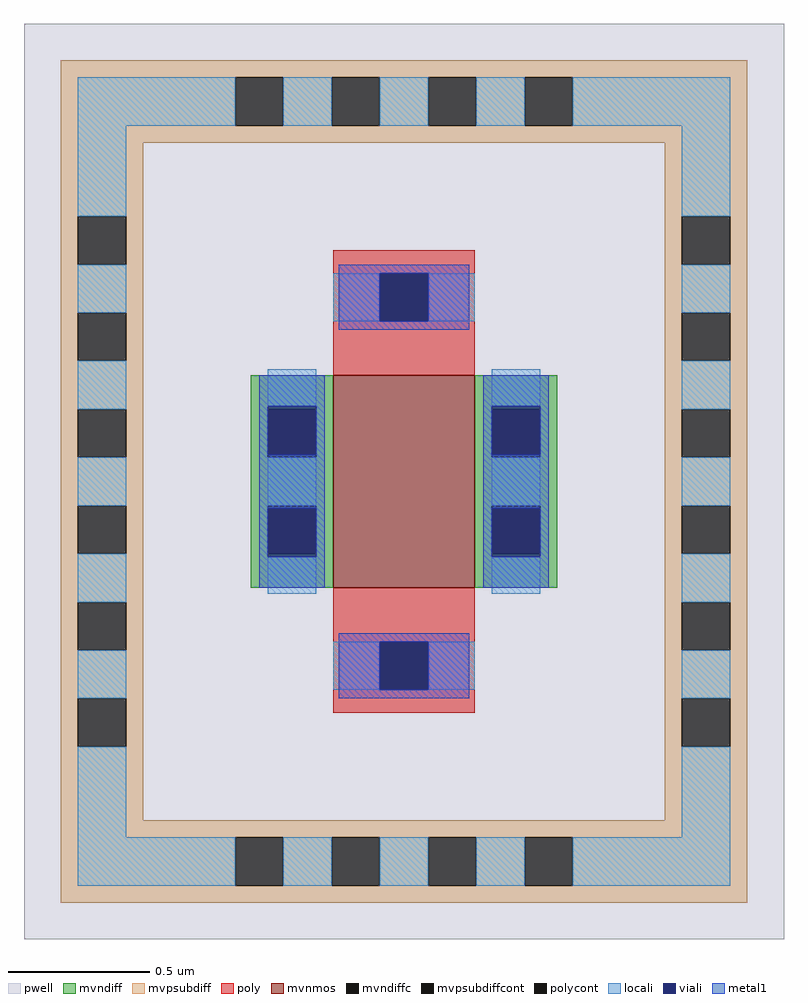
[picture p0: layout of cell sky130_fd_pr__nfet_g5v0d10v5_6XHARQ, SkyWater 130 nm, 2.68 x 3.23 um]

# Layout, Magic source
magic
tech sky130B
magscale 1 2
<< pwell >>
rect -268 -323 268 323
<< mvnmos >>
rect -50 -75 50 75
<< mvndiff >>
rect -108 51 -50 75
rect -108 17 -96 51
rect -62 17 -50 51
rect -108 -17 -50 17
rect -108 -51 -96 -17
rect -62 -51 -50 -17
rect -108 -75 -50 -51
rect 50 51 108 75
rect 50 17 62 51
rect 96 17 108 51
rect 50 -17 108 17
rect 50 -51 62 -17
rect 96 -51 108 -17
rect 50 -75 108 -51
<< mvndiffc >>
rect -96 17 -62 51
rect -96 -51 -62 -17
rect 62 17 96 51
rect 62 -51 96 -17
<< mvpsubdiff >>
rect -242 285 242 297
rect -242 251 -119 285
rect -85 251 -51 285
rect -17 251 17 285
rect 51 251 85 285
rect 119 251 242 285
rect -242 239 242 251
rect -242 187 -184 239
rect -242 153 -230 187
rect -196 153 -184 187
rect 184 187 242 239
rect -242 119 -184 153
rect -242 85 -230 119
rect -196 85 -184 119
rect -242 51 -184 85
rect 184 153 196 187
rect 230 153 242 187
rect 184 119 242 153
rect 184 85 196 119
rect 230 85 242 119
rect -242 17 -230 51
rect -196 17 -184 51
rect -242 -17 -184 17
rect -242 -51 -230 -17
rect -196 -51 -184 -17
rect -242 -85 -184 -51
rect 184 51 242 85
rect 184 17 196 51
rect 230 17 242 51
rect 184 -17 242 17
rect 184 -51 196 -17
rect 230 -51 242 -17
rect -242 -119 -230 -85
rect -196 -119 -184 -85
rect -242 -153 -184 -119
rect -242 -187 -230 -153
rect -196 -187 -184 -153
rect 184 -85 242 -51
rect 184 -119 196 -85
rect 230 -119 242 -85
rect 184 -153 242 -119
rect -242 -239 -184 -187
rect 184 -187 196 -153
rect 230 -187 242 -153
rect 184 -239 242 -187
rect -242 -251 242 -239
rect -242 -285 -119 -251
rect -85 -285 -51 -251
rect -17 -285 17 -251
rect 51 -285 85 -251
rect 119 -285 242 -251
rect -242 -297 242 -285
<< mvpsubdiffcont >>
rect -119 251 -85 285
rect -51 251 -17 285
rect 17 251 51 285
rect 85 251 119 285
rect -230 153 -196 187
rect -230 85 -196 119
rect 196 153 230 187
rect 196 85 230 119
rect -230 17 -196 51
rect -230 -51 -196 -17
rect 196 17 230 51
rect 196 -51 230 -17
rect -230 -119 -196 -85
rect -230 -187 -196 -153
rect 196 -119 230 -85
rect 196 -187 230 -153
rect -119 -285 -85 -251
rect -51 -285 -17 -251
rect 17 -285 51 -251
rect 85 -285 119 -251
<< poly >>
rect -50 147 50 163
rect -50 113 -17 147
rect 17 113 50 147
rect -50 75 50 113
rect -50 -113 50 -75
rect -50 -147 -17 -113
rect 17 -147 50 -113
rect -50 -163 50 -147
<< polycont >>
rect -17 113 17 147
rect -17 -147 17 -113
<< locali >>
rect -230 251 -119 285
rect -85 251 -51 285
rect -17 251 17 285
rect 51 251 85 285
rect 119 251 230 285
rect -230 187 -196 251
rect -230 119 -196 153
rect 196 187 230 251
rect -50 113 -17 147
rect 17 113 50 147
rect 196 119 230 153
rect -230 51 -196 85
rect -230 -17 -196 17
rect -230 -85 -196 -51
rect -96 53 -62 79
rect -96 -17 -62 17
rect -96 -79 -62 -53
rect 62 53 96 79
rect 62 -17 96 17
rect 62 -79 96 -53
rect 196 51 230 85
rect 196 -17 230 17
rect 196 -85 230 -51
rect -230 -153 -196 -119
rect -50 -147 -17 -113
rect 17 -147 50 -113
rect -230 -251 -196 -187
rect 196 -153 230 -119
rect 196 -251 230 -187
rect -230 -285 -119 -251
rect -85 -285 -51 -251
rect -17 -285 17 -251
rect 51 -285 85 -251
rect 119 -285 230 -251
<< viali >>
rect -17 113 17 147
rect -96 51 -62 53
rect -96 19 -62 51
rect -96 -51 -62 -19
rect -96 -53 -62 -51
rect 62 51 96 53
rect 62 19 96 51
rect 62 -51 96 -19
rect 62 -53 96 -51
rect -17 -147 17 -113
<< metal1 >>
rect -46 147 46 153
rect -46 113 -17 147
rect 17 113 46 147
rect -46 107 46 113
rect -102 53 -56 75
rect -102 19 -96 53
rect -62 19 -56 53
rect -102 -19 -56 19
rect -102 -53 -96 -19
rect -62 -53 -56 -19
rect -102 -75 -56 -53
rect 56 53 102 75
rect 56 19 62 53
rect 96 19 102 53
rect 56 -19 102 19
rect 56 -53 62 -19
rect 96 -53 102 -19
rect 56 -75 102 -53
rect -46 -113 46 -107
rect -46 -147 -17 -113
rect 17 -147 46 -113
rect -46 -153 46 -147
<< properties >>
string FIXED_BBOX -213 -268 213 268
<< end >>
